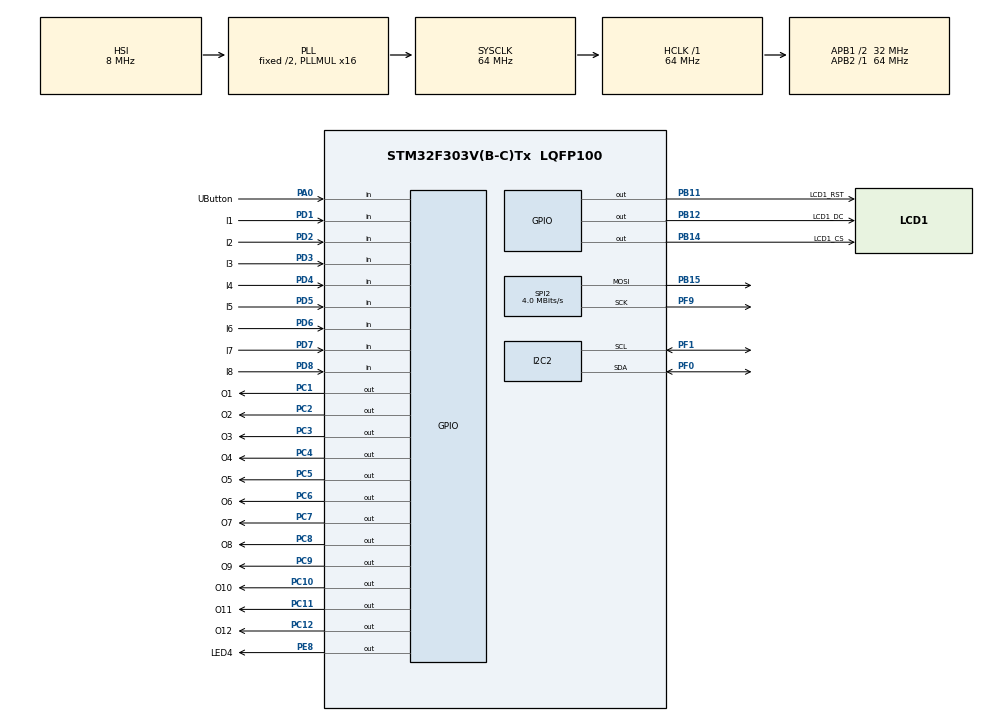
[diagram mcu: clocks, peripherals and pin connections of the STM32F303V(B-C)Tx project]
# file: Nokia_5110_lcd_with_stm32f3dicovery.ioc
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Mcu.Family=STM32F3
Mcu.Name=STM32F303V(B-C)Tx
Mcu.Package=LQFP100
NVIC.PriorityGroup=NVIC_PRIORITYGROUP_4
PA0.GPIO_Label=UButton
PA0.Signal=GPIO_Input
PB11.GPIO_Label=LCD1_RST
PB11.Signal=GPIO_Output
PB12.GPIO_Label=LCD1_DC
PB12.Signal=GPIO_Output
PB14.GPIO_Label=LCD1_CS
PB14.Signal=GPIO_Output
PB15.Mode=TX_Only_Simplex_Unidirect_Master
PB15.Signal=SPI2_MOSI
PC1.GPIO_Label=O1
PC1.Signal=GPIO_Output
PC10.GPIO_Label=O10
PC10.Signal=GPIO_Output
PC11.GPIO_Label=O11
PC11.Signal=GPIO_Output
PC12.GPIO_Label=O12
PC12.Signal=GPIO_Output
PC2.GPIO_Label=O2
PC2.Signal=GPIO_Output
PC3.GPIO_Label=O3
PC3.Signal=GPIO_Output
PC4.GPIO_Label=O4
PC4.Signal=GPIO_Output
PC5.GPIO_Label=O5
PC5.Signal=GPIO_Output
PC6.GPIO_Label=O6
PC6.Signal=GPIO_Output
PC7.GPIO_Label=O7
PC7.Signal=GPIO_Output
PC8.GPIO_Label=O8
PC8.Signal=GPIO_Output
PC9.GPIO_Label=O9
PC9.Signal=GPIO_Output
PD1.GPIO_Label=I1
PD1.Signal=GPIO_Input
PD2.GPIO_Label=I2
PD2.Signal=GPIO_Input
PD3.GPIO_Label=I3
PD3.Signal=GPIO_Input
PD4.GPIO_Label=I4
PD4.Signal=GPIO_Input
PD5.GPIO_Label=I5
PD5.Signal=GPIO_Input
PD6.GPIO_Label=I6
PD6.Signal=GPIO_Input
PD7.GPIO_Label=I7
PD7.Signal=GPIO_Input
PD8.GPIO_Label=I8
PD8.Signal=GPIO_Input
PE8.GPIO_Label=LED4
PE8.Signal=GPIO_Output
PF0-OSC_IN.Mode=I2C
PF0-OSC_IN.Signal=I2C2_SDA
PF1-OSC_OUT.Mode=I2C
PF1-OSC_OUT.Signal=I2C2_SCL
PF9.Mode=TX_Only_Simplex_Unidirect_Master
PF9.Signal=SPI2_SCK
ProjectManager.HeapSize=0x200
ProjectManager.StackSize=0x400
ProjectManager.TargetToolchain=SW4STM32
RCC.AHBFreq_Value=64000000
RCC.APB1CLKDivider=RCC_HCLK_DIV2
RCC.APB1Freq_Value=32000000
RCC.APB1TimFreq_Value=64000000
RCC.APB2Freq_Value=64000000
RCC.APB2TimFreq_Value=64000000
RCC.CortexFreq_Value=64000000
RCC.HCLKFreq_Value=64000000
RCC.HSE_VALUE=8000000
RCC.HSI_VALUE=8000000
RCC.LSE_VALUE=32768
RCC.PLLMUL=RCC_PLL_MUL16
RCC.SYSCLKFreq_VALUE=64000000
RCC.SYSCLKSourceVirtual=RCC_SYSCLKSOURCE_PLLCLK
RCC.USBFreq_Value=64000000
SPI2.BaudRatePrescaler=SPI_BAUDRATEPRESCALER_8
SPI2.CalculateBaudRate=4.0 MBits/s
SPI2.DataSize=SPI_DATASIZE_8BIT
SPI2.Direction=SPI_DIRECTION_2LINES
SPI2.Mode=SPI_MODE_MASTER
SPI2.VirtualType=VM_MASTER
board=Nokia_5110_lcd_with_stm32f3dicovery

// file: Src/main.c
/**
  ******************************************************************************
  * File Name          : main.c
  * Description        : Main program body
  ******************************************************************************
  ** This notice applies to any and all portions of this file
  * that are not between comment pairs USER CODE BEGIN and
  * USER CODE END. Other portions of this file, whether
  * inserted by the user or by software development tools
  * are owned by their respective copyright owners.
  *
  * COPYRIGHT(c) 2017 STMicroelectronics
  *
  * Redistribution and use in source and binary forms, with or without modification,
  * are permitted provided that the following conditions are met:
  *   1. Redistributions of source code must retain the above copyright notice,
  *      this list of conditions and the following disclaimer.
  *   2. Redistributions in binary form must reproduce the above copyright notice,
  *      this list of conditions and the following disclaimer in the documentation
  *      and/or other materials provided with the distribution.
  *   3. Neither the name of STMicroelectronics nor the names of its contributors
  *      may be used to endorse or promote products derived from this software
  *      without specific prior written permission.
  *
  * THIS SOFTWARE IS PROVIDED BY THE COPYRIGHT HOLDERS AND CONTRIBUTORS "AS IS"
  * AND ANY EXPRESS OR IMPLIED WARRANTIES, INCLUDING, BUT NOT LIMITED TO, THE
  * IMPLIED WARRANTIES OF MERCHANTABILITY AND FITNESS FOR A PARTICULAR PURPOSE ARE
  * DISCLAIMED. IN NO EVENT SHALL THE COPYRIGHT HOLDER OR CONTRIBUTORS BE LIABLE
  * FOR ANY DIRECT, INDIRECT, INCIDENTAL, SPECIAL, EXEMPLARY, OR CONSEQUENTIAL
  * DAMAGES (INCLUDING, BUT NOT LIMITED TO, PROCUREMENT OF SUBSTITUTE GOODS OR
  * SERVICES; LOSS OF USE, DATA, OR PROFITS; OR BUSINESS INTERRUPTION) HOWEVER
  * CAUSED AND ON ANY THEORY OF LIABILITY, WHETHER IN CONTRACT, STRICT LIABILITY,
  * OR TORT (INCLUDING NEGLIGENCE OR OTHERWISE) ARISING IN ANY WAY OUT OF THE USE
  * OF THIS SOFTWARE, EVEN IF ADVISED OF THE POSSIBILITY OF SUCH DAMAGE.
  *
  ******************************************************************************
  */
#include "main.h"
#include "stm32f3xx_hal.h"
#include "i2c.h"
#include "spi.h"
#include "gpio.h"

/* USER CODE BEGIN Includes */
#include "lcd5110.h"

/* USER CODE END Includes */

/* USER CODE BEGIN PV */
/* Private variables ---------------------------------------------------------*/

/* USER CODE END PV */

void SystemClock_Config(void);

/* USER CODE BEGIN PFP */
/* Private function prototypes -----------------------------------------------*/

/* USER CODE END PFP */

/* USER CODE BEGIN 0 */

/* TESTING BLOCK BEGIN 0
 *
 * Block of testing methods for logical elements.
 * Correspondence between STM32F3Discovery pins and labels.
 * PC1:PC12 = O1:O12 -> GPIO Outputs
 * PD1:PD6 = I1:I6 -> GPIO I1s
 */

/*
 * Tester method for SN74HC157N multiplexer.
 * Checks whether the multiplexer operates correctly.
 *
 * Relation between STM32F3Discovery | Labels | Multiplexer pins:
 * O1 = Strobe; O2 = Select; O3 = A; O4 = B; I1 = Output
 *
 * Return value:
 * true - test is passed;
 * false - test is not passed.
 */
bool test_SN74HC157N(){

	bool test_passed = false;
	int test_count = 0;

	/* 1)
	 * Strobe = H
	 * Select = x
	 * A = x
	 * B = x
	 * Result = L
	 */
	HAL_GPIO_WritePin(O1_GPIO_Port, O1_Pin, GPIO_PIN_SET); //Set Strobe = H
	if (HAL_GPIO_ReadPin(I1_GPIO_Port, I1_Pin) == 0) {     // Check if Result = L
		test_count += 1; // test passed
	}

	/* 2)
	 * Strobe = L
	 * Select = L
	 * A = L
	 * B = x
	 * Result = L
	 */
	HAL_GPIO_WritePin(O1_GPIO_Port, O1_Pin, GPIO_PIN_RESET); // Set Strobe = L
	HAL_GPIO_WritePin(O2_GPIO_Port, O2_Pin, GPIO_PIN_RESET); // Set Select = L
	HAL_GPIO_WritePin(O3_GPIO_Port, O3_Pin, GPIO_PIN_RESET); // Set A      = L
		if (HAL_GPIO_ReadPin(I1_GPIO_Port, I1_Pin) == 0) {   // Check if Result = L
			test_count += 1; // test passed
		}

	/* 3)
	 * Strobe = L
	 * Select = L
	 * A = H
	 * B = x
	 * Result = H
	 */
	HAL_GPIO_WritePin(O1_GPIO_Port, O1_Pin, GPIO_PIN_RESET); // Set Strobe = L
	HAL_GPIO_WritePin(O2_GPIO_Port, O2_Pin, GPIO_PIN_RESET); // Set Select = L
	HAL_GPIO_WritePin(O3_GPIO_Port, O3_Pin, GPIO_PIN_SET);   // Set A      = H
		if (HAL_GPIO_ReadPin(I1_GPIO_Port, I1_Pin) == 1) {   // Check if Result = H
			test_count += 1; // test passed
		}

	/* 4)
	 * Strobe = L
	 * Select = H
	 * A = x
	 * B = L
	 * Result = L
	 */
	HAL_GPIO_WritePin(O1_GPIO_Port, O1_Pin, GPIO_PIN_RESET); // Set Strobe = L
	HAL_GPIO_WritePin(O2_GPIO_Port, O2_Pin, GPIO_PIN_SET);   // Set Select = H
	HAL_GPIO_WritePin(O4_GPIO_Port, O4_Pin, GPIO_PIN_RESET); // Set B      = L
		if (HAL_GPIO_ReadPin(I1_GPIO_Port, I1_Pin) == 0) {   // Check if Result = L
			test_count += 1; // test passed
		}

	/* 5)
	 * Strobe = L
	 * Select = H
	 * A = x
	 * B = H
	 * Result = H
	 */
	HAL_GPIO_WritePin(O1_GPIO_Port, O1_Pin, GPIO_PIN_RESET); // Set Strobe = L
	HAL_GPIO_WritePin(O2_GPIO_Port, O2_Pin, GPIO_PIN_SET);   // Set Select = H
	HAL_GPIO_WritePin(O4_GPIO_Port, O4_Pin, GPIO_PIN_SET);	 // Set B      = H
		if (HAL_GPIO_ReadPin(I1_GPIO_Port, I1_Pin) == 1) {	 // Check if Result = H
			test_count += 1; // test passed
		}

	if (test_count == 5) { // check if all tests passed
		test_passed = true;
	}

	return test_passed;
}

/*
 * Tester method for 74LS138.
 * Datasheet hhttp://www.electroschematics.com/wp-content/uploads/2013/07/74LS138-datasheet.pdf,
 * https://www.allsyllabus.com/aj/note/EEE/8086%20Microprocessor%20&%20Peripherals/unit%205/Interfacing%20Devices.php#.WSmM72iGOUk
 * Checks whether the element operates correctly.
 *
 * Relation between STM32F3Discovery labels | Element pins:
 * O1 = E1, O2 = E2, O3 = E3; O4 = A0, O5 = A1, O6 = A2;
 * I1:I8 = O0:O7
 *
 * Return value:
 * true - test is passed;
 * false - test is not passed.
 */
bool test_74LS138(){

	bool test_passed = false;
	int test_count = 0;

	/* 1)
	 * O1 = E1 = H
	 * I1:I8 = O0:O7 = H
	 */

	HAL_GPIO_WritePin(O1_GPIO_Port, O1_Pin, GPIO_PIN_SET);
	if (HAL_GPIO_ReadPin(I1_GPIO_Port, I1_Pin) == 1 &&
			HAL_GPIO_ReadPin(I2_GPIO_Port, I2_Pin) == 1 &&
			HAL_GPIO_ReadPin(I3_GPIO_Port, I3_Pin) == 1 &&
			HAL_GPIO_ReadPin(I4_GPIO_Port, I4_Pin) == 1 &&
			HAL_GPIO_ReadPin(I5_GPIO_Port, I5_Pin) == 1 &&
			HAL_GPIO_ReadPin(I6_GPIO_Port, I6_Pin) == 1 &&
			HAL_GPIO_ReadPin(I7_GPIO_Port, I7_Pin) == 1 &&
			HAL_GPIO_ReadPin(I8_GPIO_Port, I8_Pin) == 1) {
		test_count += 1;
	}

	/* 2)
	 * O2 = E2 = H
	 * I1:I8 = O0:O7 = H
	 */

	HAL_GPIO_WritePin(O2_GPIO_Port, O2_Pin, GPIO_PIN_SET);
	if (HAL_GPIO_ReadPin(I1_GPIO_Port, I1_Pin) == 1 &&
			HAL_GPIO_ReadPin(I2_GPIO_Port, I2_Pin) == 1 &&
			HAL_GPIO_ReadPin(I3_GPIO_Port, I3_Pin) == 1 &&
			HAL_GPIO_ReadPin(I4_GPIO_Port, I4_Pin) == 1 &&
			HAL_GPIO_ReadPin(I5_GPIO_Port, I5_Pin) == 1 &&
			HAL_GPIO_ReadPin(I6_GPIO_Port, I6_Pin) == 1 &&
			HAL_GPIO_ReadPin(I7_GPIO_Port, I7_Pin) == 1 &&
			HAL_GPIO_ReadPin(I8_GPIO_Port, I8_Pin) == 1) {
		test_count += 1;
	}

	/* 3)
	 * O3 = E3 = L
	 * I1:I8 = O0:O7 = H
	 */

	HAL_GPIO_WritePin(O3_GPIO_Port, O3_Pin, GPIO_PIN_RESET);
	if (HAL_GPIO_ReadPin(I1_GPIO_Port, I1_Pin) == 1 &&
			HAL_GPIO_ReadPin(I2_GPIO_Port, I2_Pin) == 1 &&
			HAL_GPIO_ReadPin(I3_GPIO_Port, I3_Pin) == 1 &&
			HAL_GPIO_ReadPin(I4_GPIO_Port, I4_Pin) == 1 &&
			HAL_GPIO_ReadPin(I5_GPIO_Port, I5_Pin) == 1 &&
			HAL_GPIO_ReadPin(I6_GPIO_Port, I6_Pin) == 1 &&
			HAL_GPIO_ReadPin(I7_GPIO_Port, I7_Pin) == 1 &&
			HAL_GPIO_ReadPin(I8_GPIO_Port, I8_Pin) == 1) {
		test_count += 1;
	}

	/* 4)
	 * O1 = E1 = L
	 * O2 = E2 = L
	 * O3 = E3 = H
	 * O4 = A0 = L
	 * O5 = A1 = L
	 * O6 = A1 = L
	 *
	 * I1 = O0 = L
	 * I2 = O1 = H
	 * I3 = O2 = H
	 * I4 = O3 = H
	 * I5 = O4 = H
	 * I6 = O5 = H
	 * I7 = O6 = H
	 * I8 = O7 = H
	 */

	HAL_GPIO_WritePin(O1_GPIO_Port, O3_Pin, GPIO_PIN_RESET);
	HAL_GPIO_WritePin(O2_GPIO_Port, O2_Pin, GPIO_PIN_RESET);
	HAL_GPIO_WritePin(O3_GPIO_Port, O3_Pin, GPIO_PIN_SET);
	HAL_GPIO_WritePin(O4_GPIO_Port, O4_Pin, GPIO_PIN_RESET);
	HAL_GPIO_WritePin(O5_GPIO_Port, O5_Pin, GPIO_PIN_RESET);
	HAL_GPIO_WritePin(O6_GPIO_Port, O6_Pin, GPIO_PIN_RESET);
	if (HAL_GPIO_ReadPin(I1_GPIO_Port, I1_Pin) == 0 &&
			HAL_GPIO_ReadPin(I2_GPIO_Port, I2_Pin) == 1 &&
			HAL_GPIO_ReadPin(I3_GPIO_Port, I3_Pin) == 1 &&
			HAL_GPIO_ReadPin(I4_GPIO_Port, I4_Pin) == 1 &&
			HAL_GPIO_ReadPin(I5_GPIO_Port, I5_Pin) == 1 &&
			HAL_GPIO_ReadPin(I6_GPIO_Port, I6_Pin) == 1 &&
			HAL_GPIO_ReadPin(I7_GPIO_Port, I7_Pin) == 1 &&
			HAL_GPIO_ReadPin(I8_GPIO_Port, I8_Pin) == 1) {
		test_count += 1;
	}

	/* 5)
	 * O1 = E1 = L
	 * O2 = E2 = L
	 * O3 = E3 = H
	 * O4 = A0 = H
	 * O5 = A1 = L
	 * O6 = A1 = L
	 *
	 * I1 = O0 = H
	 * I2 = O1 = L
	 * I3 = O2 = H
	 * I4 = O3 = H
	 * I5 = O4 = H
	 * I6 = O5 = H
	 * I7 = O6 = H
	 * I8 = O7 = H
	 */

	HAL_GPIO_WritePin(O1_GPIO_Port, O3_Pin, GPIO_PIN_RESET);
	HAL_GPIO_WritePin(O2_GPIO_Port, O2_Pin, GPIO_PIN_RESET);
	HAL_GPIO_WritePin(O3_GPIO_Port, O3_Pin, GPIO_PIN_SET);
	HAL_GPIO_WritePin(O4_GPIO_Port, O4_Pin, GPIO_PIN_SET);
	HAL_GPIO_WritePin(O5_GPIO_Port, O5_Pin, GPIO_PIN_RESET);
	HAL_GPIO_WritePin(O6_GPIO_Port, O6_Pin, GPIO_PIN_RESET);
	if (HAL_GPIO_ReadPin(I1_GPIO_Port, I1_Pin) == 1 &&
			HAL_GPIO_ReadPin(I2_GPIO_Port, I2_Pin) == 0 &&
			HAL_GPIO_ReadPin(I3_GPIO_Port, I3_Pin) == 1 &&
			HAL_GPIO_ReadPin(I4_GPIO_Port, I4_Pin) == 1 &&
			HAL_GPIO_ReadPin(I5_GPIO_Port, I5_Pin) == 1 &&
			HAL_GPIO_ReadPin(I6_GPIO_Port, I6_Pin) == 1 &&
			HAL_GPIO_ReadPin(I7_GPIO_Port, I7_Pin) == 1 &&
			HAL_GPIO_ReadPin(I8_GPIO_Port, I8_Pin) == 1) {
		test_count += 1;
	}

	/* 6)
	 * O1 = E1 = L
	 * O2 = E2 = L
	 * O3 = E3 = H
	 * O4 = A0 = L
	 * O5 = A1 = H
	 * O6 = A1 = L
	 *
	 * I1 = O0 = H
	 * I2 = O1 = H
	 * I3 = O2 = L
	 * I4 = O3 = H
	 * I5 = O4 = H
	 * I6 = O5 = H
	 * I7 = O6 = H
	 * I8 = O7 = H
	 */

	HAL_GPIO_WritePin(O1_GPIO_Port, O3_Pin, GPIO_PIN_RESET);
	HAL_GPIO_WritePin(O2_GPIO_Port, O2_Pin, GPIO_PIN_RESET);
	HAL_GPIO_WritePin(O3_GPIO_Port, O3_Pin, GPIO_PIN_SET);
	HAL_GPIO_WritePin(O4_GPIO_Port, O4_Pin, GPIO_PIN_RESET);
	HAL_GPIO_WritePin(O5_GPIO_Port, O5_Pin, GPIO_PIN_SET);
	HAL_GPIO_WritePin(O6_GPIO_Port, O6_Pin, GPIO_PIN_RESET);
	if (HAL_GPIO_ReadPin(I1_GPIO_Port, I1_Pin) == 1 &&
			HAL_GPIO_ReadPin(I2_GPIO_Port, I2_Pin) == 1 &&
			HAL_GPIO_ReadPin(I3_GPIO_Port, I3_Pin) == 0 &&
			HAL_GPIO_ReadPin(I4_GPIO_Port, I4_Pin) == 1 &&
			HAL_GPIO_ReadPin(I5_GPIO_Port, I5_Pin) == 1 &&
			HAL_GPIO_ReadPin(I6_GPIO_Port, I6_Pin) == 1 &&
			HAL_GPIO_ReadPin(I7_GPIO_Port, I7_Pin) == 1 &&
			HAL_GPIO_ReadPin(I8_GPIO_Port, I8_Pin) == 1) {
		test_count += 1;
	}

	/* 7)
	 * O1 = E1 = L
	 * O2 = E2 = L
	 * O3 = E3 = H
	 * O4 = A0 = H
	 * O5 = A1 = H
	 * O6 = A1 = L
	 *
	 * I1 = O0 = H
	 * I2 = O1 = H
	 * I3 = O2 = H
	 * I4 = O3 = L
	 * I5 = O4 = H
	 * I6 = O5 = H
	 * I7 = O6 = H
	 * I8 = O7 = H
	 */

	HAL_GPIO_WritePin(O1_GPIO_Port, O3_Pin, GPIO_PIN_RESET);
	HAL_GPIO_WritePin(O2_GPIO_Port, O2_Pin, GPIO_PIN_RESET);
	HAL_GPIO_WritePin(O3_GPIO_Port, O3_Pin, GPIO_PIN_SET);
	HAL_GPIO_WritePin(O4_GPIO_Port, O4_Pin, GPIO_PIN_SET);
	HAL_GPIO_WritePin(O5_GPIO_Port, O5_Pin, GPIO_PIN_SET);
	HAL_GPIO_WritePin(O6_GPIO_Port, O6_Pin, GPIO_PIN_RESET);
	if (HAL_GPIO_ReadPin(I1_GPIO_Port, I1_Pin) == 1 &&
			HAL_GPIO_ReadPin(I2_GPIO_Port, I2_Pin) == 1 &&
			HAL_GPIO_ReadPin(I3_GPIO_Port, I3_Pin) == 1 &&
			HAL_GPIO_ReadPin(I4_GPIO_Port, I4_Pin) == 0 &&
			HAL_GPIO_ReadPin(I5_GPIO_Port, I5_Pin) == 1 &&
			HAL_GPIO_ReadPin(I6_GPIO_Port, I6_Pin) == 1 &&
			HAL_GPIO_ReadPin(I7_GPIO_Port, I7_Pin) == 1 &&
			HAL_GPIO_ReadPin(I8_GPIO_Port, I8_Pin) == 1) {
		test_count += 1;
	}

	/* 8)
	 * O1 = E1 = L
	 * O2 = E2 = L
	 * O3 = E3 = H
	 * O4 = A0 = L
	 * O5 = A1 = L
	 * O6 = A1 = H
	 *
	 * I1 = O0 = H
	 * I2 = O1 = H
	 * I3 = O2 = H
	 * I4 = O3 = H
	 * I5 = O4 = L
	 * I6 = O5 = H
	 * I7 = O6 = H
	 * I8 = O7 = H
	 */

	HAL_GPIO_WritePin(O1_GPIO_Port, O3_Pin, GPIO_PIN_RESET);
	HAL_GPIO_WritePin(O2_GPIO_Port, O2_Pin, GPIO_PIN_RESET);
	HAL_GPIO_WritePin(O3_GPIO_Port, O3_Pin, GPIO_PIN_SET);
	HAL_GPIO_WritePin(O4_GPIO_Port, O4_Pin, GPIO_PIN_RESET);
	HAL_GPIO_WritePin(O5_GPIO_Port, O5_Pin, GPIO_PIN_RESET);
	HAL_GPIO_WritePin(O6_GPIO_Port, O6_Pin, GPIO_PIN_SET);
	if (HAL_GPIO_ReadPin(I1_GPIO_Port, I1_Pin) == 1 &&
			HAL_GPIO_ReadPin(I2_GPIO_Port, I2_Pin) == 1 &&
			HAL_GPIO_ReadPin(I3_GPIO_Port, I3_Pin) == 1 &&
			HAL_GPIO_ReadPin(I4_GPIO_Port, I4_Pin) == 1 &&
			HAL_GPIO_ReadPin(I5_GPIO_Port, I5_Pin) == 0 &&
			HAL_GPIO_ReadPin(I6_GPIO_Port, I6_Pin) == 1 &&
			HAL_GPIO_ReadPin(I7_GPIO_Port, I7_Pin) == 1 &&
			HAL_GPIO_ReadPin(I8_GPIO_Port, I8_Pin) == 1) {
		test_count += 1;
	}

	/* 9)
	 * O1 = E1 = L
	 * O2 = E2 = L
	 * O3 = E3 = H
	 * O4 = A0 = H
	 * O5 = A1 = L
	 * O6 = A1 = H
	 *
	 * I1 = O0 = H
	 * I2 = O1 = H
	 * I3 = O2 = H
	 * I4 = O3 = H
	 * I5 = O4 = H
	 * I6 = O5 = L
	 * I7 = O6 = H
	 * I8 = O7 = H
	 */

	HAL_GPIO_WritePin(O1_GPIO_Port, O3_Pin, GPIO_PIN_RESET);
	HAL_GPIO_WritePin(O2_GPIO_Port, O2_Pin, GPIO_PIN_RESET);
	HAL_GPIO_WritePin(O3_GPIO_Port, O3_Pin, GPIO_PIN_SET);
	HAL_GPIO_WritePin(O4_GPIO_Port, O4_Pin, GPIO_PIN_SET);
	HAL_GPIO_WritePin(O5_GPIO_Port, O5_Pin, GPIO_PIN_RESET);
	HAL_GPIO_WritePin(O6_GPIO_Port, O6_Pin, GPIO_PIN_SET);
	if (HAL_GPIO_ReadPin(I1_GPIO_Port, I1_Pin) == 1 &&
			HAL_GPIO_ReadPin(I2_GPIO_Port, I2_Pin) == 1 &&
			HAL_GPIO_ReadPin(I3_GPIO_Port, I3_Pin) == 1 &&
			HAL_GPIO_ReadPin(I4_GPIO_Port, I4_Pin) == 1 &&
			HAL_GPIO_ReadPin(I5_GPIO_Port, I5_Pin) == 1 &&
			HAL_GPIO_ReadPin(I6_GPIO_Port, I6_Pin) == 0 &&
			HAL_GPIO_ReadPin(I7_GPIO_Port, I7_Pin) == 1 &&
			HAL_GPIO_ReadPin(I8_GPIO_Port, I8_Pin) == 1) {
		test_count += 1;
	}

	/* 10)
	 * O1 = E1 = L
	 * O2 = E2 = L
	 * O3 = E3 = H
	 * O4 = A0 = L
	 * O5 = A1 = H
	 * O6 = A1 = H
	 *
	 * I1 = O0 = H
	 * I2 = O1 = H
	 * I3 = O2 = H
	 * I4 = O3 = H
	 * I5 = O4 = H
	 * I6 = O5 = H
	 * I7 = O6 = L
	 * I8 = O7 = H
	 */

	HAL_GPIO_WritePin(O1_GPIO_Port, O3_Pin, GPIO_PIN_RESET);
	HAL_GPIO_WritePin(O2_GPIO_Port, O2_Pin, GPIO_PIN_RESET);
	HAL_GPIO_WritePin(O3_GPIO_Port, O3_Pin, GPIO_PIN_SET);
	HAL_GPIO_WritePin(O4_GPIO_Port, O4_Pin, GPIO_PIN_RESET);
	HAL_GPIO_WritePin(O5_GPIO_Port, O5_Pin, GPIO_PIN_SET);
	HAL_GPIO_WritePin(O6_GPIO_Port, O6_Pin, GPIO_PIN_SET);
	if (HAL_GPIO_ReadPin(I1_GPIO_Port, I1_Pin) == 1 &&
			HAL_GPIO_ReadPin(I2_GPIO_Port, I2_Pin) == 1 &&
			HAL_GPIO_ReadPin(I3_GPIO_Port, I3_Pin) == 1 &&
			HAL_GPIO_ReadPin(I4_GPIO_Port, I4_Pin) == 1 &&
			HAL_GPIO_ReadPin(I5_GPIO_Port, I5_Pin) == 1 &&
			HAL_GPIO_ReadPin(I6_GPIO_Port, I6_Pin) == 1 &&
			HAL_GPIO_ReadPin(I7_GPIO_Port, I7_Pin) == 0 &&
			HAL_GPIO_ReadPin(I8_GPIO_Port, I8_Pin) == 1) {
		test_count += 1;
	}

	/* 11)
	 * O1 = E1 = L
	 * O2 = E2 = L
	 * O3 = E3 = H
	 * O4 = A0 = H
	 * O5 = A1 = H
	 * O6 = A1 = H
	 *
	 * I1 = O0 = H
	 * I2 = O1 = H
	 * I3 = O2 = H
	 * I4 = O3 = H
	 * I5 = O4 = H
	 * I6 = O5 = H
	 * I7 = O6 = H
	 * I8 = O7 = L
	 */

	HAL_GPIO_WritePin(O1_GPIO_Port, O3_Pin, GPIO_PIN_RESET);
	HAL_GPIO_WritePin(O2_GPIO_Port, O2_Pin, GPIO_PIN_RESET);
	HAL_GPIO_WritePin(O3_GPIO_Port, O3_Pin, GPIO_PIN_SET);
	HAL_GPIO_WritePin(O4_GPIO_Port, O4_Pin, GPIO_PIN_SET);
	HAL_GPIO_WritePin(O5_GPIO_Port, O5_Pin, GPIO_PIN_SET);
	HAL_GPIO_WritePin(O6_GPIO_Port, O6_Pin, GPIO_PIN_SET);
	if (HAL_GPIO_ReadPin(I1_GPIO_Port, I1_Pin) == 1 &&
			HAL_GPIO_ReadPin(I2_GPIO_Port, I2_Pin) == 1 &&
			HAL_GPIO_ReadPin(I3_GPIO_Port, I3_Pin) == 1 &&
			HAL_GPIO_ReadPin(I4_GPIO_Port, I4_Pin) == 1 &&
			HAL_GPIO_ReadPin(I5_GPIO_Port, I5_Pin) == 1 &&
			HAL_GPIO_ReadPin(I6_GPIO_Port, I6_Pin) == 1 &&
			HAL_GPIO_ReadPin(I7_GPIO_Port, I7_Pin) == 1 &&
			HAL_GPIO_ReadPin(I8_GPIO_Port, I8_Pin) == 0) {
		test_count += 1;
	}

	if (test_count == 11) { // check if all tests passed
		test_passed = true;
	}

	return test_passed;

}

/*
 * Tester method for 74HC147.
 * Datasheet http://pdf1.alldatasheet.com/datasheet-pdf/view/114731/PHILIPS/74HC147.html
 * Tests according to the function table. See the datasheet.
 * Checks whether the element operates correctly.
 *
 * Relation between STM32F3Discovery labels | Element pins:
 * O1 = A0; O2 = A1; O3 = A2; O4 = A3; 05 = A4; O6 = A5; O7 = A6; O8 = A7; O9 = A8;
 * I1 = Y0; I2 = Y1; I3 = Y2; I4 = Y3
 *
 * Return value:
 * true - test is passed;
 * false - test is not passed.
 */
bool test_74HC147(){

	bool test_passed = false;
	int test_count = 0;

	/* 1) */

	HAL_GPIO_WritePin(O1_GPIO_Port, O1_Pin, GPIO_PIN_SET);
	HAL_GPIO_WritePin(O2_GPIO_Port, O2_Pin, GPIO_PIN_SET);
	HAL_GPIO_WritePin(O3_GPIO_Port, O3_Pin, GPIO_PIN_SET);
	HAL_GPIO_WritePin(O4_GPIO_Port, O4_Pin, GPIO_PIN_SET);
	HAL_GPIO_WritePin(O5_GPIO_Port, O5_Pin, GPIO_PIN_SET);
	HAL_GPIO_WritePin(O6_GPIO_Port, O6_Pin, GPIO_PIN_SET);
	HAL_GPIO_WritePin(O7_GPIO_Port, O7_Pin, GPIO_PIN_SET);
	HAL_GPIO_WritePin(O8_GPIO_Port, O8_Pin, GPIO_PIN_SET);
	HAL_GPIO_WritePin(O9_GPIO_Port, O9_Pin, GPIO_PIN_SET);
		if (HAL_GPIO_ReadPin(I1_GPIO_Port, I1_Pin) == 1 &&
				HAL_GPIO_ReadPin(I2_GPIO_Port, I2_Pin) == 1 &&
				HAL_GPIO_ReadPin(I3_GPIO_Port, I3_Pin) == 1 &&
				HAL_GPIO_ReadPin(I4_GPIO_Port, I4_Pin) == 1) {
			test_count += 1;
		}

	/* 2) */

	HAL_GPIO_WritePin(O9_GPIO_Port, O9_Pin, GPIO_PIN_RESET);
		if (HAL_GPIO_ReadPin(I1_GPIO_Port, I1_Pin) == 0 &&
				HAL_GPIO_ReadPin(I2_GPIO_Port, I2_Pin) == 1 &&
				HAL_GPIO_ReadPin(I3_GPIO_Port, I3_Pin) == 1 &&
				HAL_GPIO_ReadPin(I4_GPIO_Port, I4_Pin) == 0) {
			test_count += 1;
		}

	/* 3) */

	HAL_GPIO_WritePin(O8_GPIO_Port, O8_Pin, GPIO_PIN_RESET);
	HAL_GPIO_WritePin(O9_GPIO_Port, O9_Pin, GPIO_PIN_SET);
		if (HAL_GPIO_ReadPin(I1_GPIO_Port, I1_Pin) == 1 &&
				HAL_GPIO_ReadPin(I2_GPIO_Port, I2_Pin) == 1 &&
				HAL_GPIO_ReadPin(I3_GPIO_Port, I3_Pin) == 1 &&
				HAL_GPIO_ReadPin(I4_GPIO_Port, I4_Pin) == 0) {
			test_count += 1;
		}

	/* 4) */

	HAL_GPIO_WritePin(O7_GPIO_Port, O7_Pin, GPIO_PIN_RESET);
	HAL_GPIO_WritePin(O8_GPIO_Port, O8_Pin, GPIO_PIN_SET);
	HAL_GPIO_WritePin(O9_GPIO_Port, O9_Pin, GPIO_PIN_SET);
		if (HAL_GPIO_ReadPin(I1_GPIO_Port, I1_Pin) == 0 &&
				HAL_GPIO_ReadPin(I2_GPIO_Port, I2_Pin) == 0 &&
				HAL_GPIO_ReadPin(I3_GPIO_Port, I3_Pin) == 0 &&
				HAL_GPIO_ReadPin(I4_GPIO_Port, I4_Pin) == 1) {
			test_count += 1;
		}

	/* 5) */

	HAL_GPIO_WritePin(O6_GPIO_Port, O6_Pin, GPIO_PIN_RESET);
	HAL_GPIO_WritePin(O7_GPIO_Port, O7_Pin, GPIO_PIN_SET);
	HAL_GPIO_WritePin(O8_GPIO_Port, O8_Pin, GPIO_PIN_SET);
	HAL_GPIO_WritePin(O9_GPIO_Port, O9_Pin, GPIO_PIN_SET);
		if (HAL_GPIO_ReadPin(I1_GPIO_Port, I1_Pin) == 1 &&
				HAL_GPIO_ReadPin(I2_GPIO_Port, I2_Pin) == 0 &&
				HAL_GPIO_ReadPin(I3_GPIO_Port, I3_Pin) == 0 &&
				HAL_GPIO_ReadPin(I4_GPIO_Port, I4_Pin) == 1) {
			test_count += 1;
		}

	/* 6) */

	HAL_GPIO_WritePin(O5_GPIO_Port, O5_Pin, GPIO_PIN_RESET);
	HAL_GPIO_WritePin(O6_GPIO_Port, O6_Pin, GPIO_PIN_SET);
	HAL_GPIO_WritePin(O7_GPIO_Port, O7_Pin, GPIO_PIN_SET);
	HAL_GPIO_WritePin(O8_GPIO_Port, O8_Pin, GPIO_PIN_SET);
	HAL_GPIO_WritePin(O9_GPIO_Port, O9_Pin, GPIO_PIN_SET);
		if (HAL_GPIO_ReadPin(I1_GPIO_Port, I1_Pin) == 0 &&
				HAL_GPIO_ReadPin(I2_GPIO_Port, I2_Pin) == 1 &&
				HAL_GPIO_ReadPin(I2_GPIO_Port, I2_Pin) == 0 &&
				HAL_GPIO_ReadPin(I2_GPIO_Port, I2_Pin) == 1) {
			test_count += 1;
		}

	/* 7) */

	HAL_GPIO_WritePin(O4_GPIO_Port, O4_Pin, GPIO_PIN_RESET);
	HAL_GPIO_WritePin(O5_GPIO_Port, O5_Pin, GPIO_PIN_SET);
	HAL_GPIO_WritePin(O6_GPIO_Port, O6_Pin, GPIO_PIN_SET);
	HAL_GPIO_WritePin(O7_GPIO_Port, O7_Pin, GPIO_PIN_SET);
	HAL_GPIO_WritePin(O8_GPIO_Port, O8_Pin, GPIO_PIN_SET);
	HAL_GPIO_WritePin(O9_GPIO_Port, O9_Pin, GPIO_PIN_SET);
		if (HAL_GPIO_ReadPin(I1_GPIO_Port, I1_Pin) == 1 &&
				HAL_GPIO_ReadPin(I2_GPIO_Port, I2_Pin) == 1 &&
				HAL_GPIO_ReadPin(I2_GPIO_Port, I2_Pin) == 0 &&
				HAL_GPIO_ReadPin(I2_GPIO_Port, I2_Pin) == 1) {
			test_count += 1;
		}

	/* 8) */

	HAL_GPIO_WritePin(O3_GPIO_Port, O3_Pin, GPIO_PIN_RESET);
	HAL_GPIO_WritePin(O4_GPIO_Port, O4_Pin, GPIO_PIN_SET);
	HAL_GPIO_WritePin(O5_GPIO_Port, O5_Pin, GPIO_PIN_SET);
	HAL_GPIO_WritePin(O6_GPIO_Port, O6_Pin, GPIO_PIN_SET);
	HAL_GPIO_WritePin(O7_GPIO_Port, O7_Pin, GPIO_PIN_SET);
	HAL_GPIO_WritePin(O8_GPIO_Port, O8_Pin, GPIO_PIN_SET);
	HAL_GPIO_WritePin(O9_GPIO_Port, O9_Pin, GPIO_PIN_SET);
		if (HAL_GPIO_ReadPin(I1_GPIO_Port, I1_Pin) == 0 &&
				HAL_GPIO_ReadPin(I2_GPIO_Port, I2_Pin) == 0 &&
				HAL_GPIO_ReadPin(I2_GPIO_Port, I2_Pin) == 1 &&
				HAL_GPIO_ReadPin(I2_GPIO_Port, I2_Pin) == 1) {
			test_count += 1;
		}

	/* 9) */
	HAL_GPIO_WritePin(O2_GPIO_Port, O2_Pin, GPIO_PIN_RESET);
	HAL_GPIO_WritePin(O3_GPIO_Port, O3_Pin, GPIO_PIN_SET);
	HAL_GPIO_WritePin(O4_GPIO_Port, O4_Pin, GPIO_PIN_SET);
	HAL_GPIO_WritePin(O5_GPIO_Port, O5_Pin, GPIO_PIN_SET);
	HAL_GPIO_WritePin(O6_GPIO_Port, O6_Pin, GPIO_PIN_SET);
	HAL_GPIO_WritePin(O7_GPIO_Port, O7_Pin, GPIO_PIN_SET);
	HAL_GPIO_WritePin(O8_GPIO_Port, O8_Pin, GPIO_PIN_SET);
	HAL_GPIO_WritePin(O9_GPIO_Port, O9_Pin, GPIO_PIN_SET);
		if (HAL_GPIO_ReadPin(I1_GPIO_Port, I1_Pin) == 1 &&
				HAL_GPIO_ReadPin(I2_GPIO_Port, I2_Pin) == 0 &&
				HAL_GPIO_ReadPin(I2_GPIO_Port, I2_Pin) == 1 &&
				HAL_GPIO_ReadPin(I2_GPIO_Port, I2_Pin) == 1) {
			test_count += 1;
		}

	/* 10) */

	HAL_GPIO_WritePin(O1_GPIO_Port, O1_Pin, GPIO_PIN_RESET);
	HAL_GPIO_WritePin(O2_GPIO_Port, O2_Pin, GPIO_PIN_SET);
	HAL_GPIO_WritePin(O3_GPIO_Port, O3_Pin, GPIO_PIN_SET);
	HAL_GPIO_WritePin(O4_GPIO_Port, O4_Pin, GPIO_PIN_SET);
	HAL_GPIO_WritePin(O5_GPIO_Port, O5_Pin, GPIO_PIN_SET);
	HAL_GPIO_WritePin(O6_GPIO_Port, O6_Pin, GPIO_PIN_SET);
	HAL_GPIO_WritePin(O7_GPIO_Port, O7_Pin, GPIO_PIN_SET);
	HAL_GPIO_WritePin(O8_GPIO_Port, O8_Pin, GPIO_PIN_SET);
	HAL_GPIO_WritePin(O9_GPIO_Port, O9_Pin, GPIO_PIN_SET);
		if (HAL_GPIO_ReadPin(I1_GPIO_Port, I1_Pin) == 0 &&
				HAL_GPIO_ReadPin(I2_GPIO_Port, I2_Pin) == 1 &&
				HAL_GPIO_ReadPin(I2_GPIO_Port, I2_Pin) == 1 &&
				HAL_GPIO_ReadPin(I2_GPIO_Port, I2_Pin) == 1) {
			test_count += 1;
		}

	if (test_count == 10) { // check if all tests passed
		test_passed = true;
	}

	return test_passed;

}

/*
 * Tester method for SN74HC151.
 * Datasheet http://www.ti.com/lit/ds/symlink/sn74hc151.pdf
 * Tests according to the function table. See the datasheet.
 * Checks whether the element operates correctly.
 *
 * Relation between STM32F3Discovery labels | Multiplexer pins:
 * O1 = Strobe !G; O2 = A; O3 = B; O4 = C; O5:012 = D0:D7
 * I1 = Y; I2 = W
 *
 * Return value:
 * true - test is passed;
 * false - test is not passed.
 */
bool test_SN74HC151(){

	bool test_passed = false;
	int test_count = 0;

	/*
	* Pre configuration.
	* Set O5:O12 (D0:D7 on chip) to 0.
	*/
	HAL_GPIO_WritePin(O5_GPIO_Port, O5_Pin, GPIO_PIN_RESET);
	HAL_GPIO_WritePin(O6_GPIO_Port, O6_Pin, GPIO_PIN_RESET);
	HAL_GPIO_WritePin(O7_GPIO_Port, O7_Pin, GPIO_PIN_RESET);
	HAL_GPIO_WritePin(O8_GPIO_Port, O8_Pin, GPIO_PIN_RESET);
	HAL_GPIO_WritePin(O9_GPIO_Port, O9_Pin, GPIO_PIN_RESET);
	HAL_GPIO_WritePin(O10_GPIO_Port, O10_Pin, GPIO_PIN_RESET);
	HAL_GPIO_WritePin(O11_GPIO_Port, O11_Pin, GPIO_PIN_RESET);
	HAL_GPIO_WritePin(O12_GPIO_Port, O12_Pin, GPIO_PIN_RESET);

	/* 1) */

	HAL_GPIO_WritePin(O1_GPIO_Port, O1_Pin, GPIO_PIN_SET); //Strobe = H
		if (HAL_GPIO_ReadPin(I1_GPIO_Port, I1_Pin) == 0 &&
				HAL_GPIO_ReadPin(I2_GPIO_Port, I2_Pin) == 1) {
			test_count += 1;
		}

	/* 2) */

	HAL_GPIO_WritePin(O1_GPIO_Port, O1_Pin, GPIO_PIN_RESET); //Strobe = L
	HAL_GPIO_WritePin(O2_GPIO_Port, O2_Pin, GPIO_PIN_RESET); //A = L
	HAL_GPIO_WritePin(O3_GPIO_Port, O3_Pin, GPIO_PIN_RESET); //B = L
	HAL_GPIO_WritePin(O4_GPIO_Port, O4_Pin, GPIO_PIN_RESET); //C = L
		if (HAL_GPIO_ReadPin(I1_GPIO_Port, I1_Pin) == 0 &&
				HAL_GPIO_ReadPin(I2_GPIO_Port, I2_Pin) == 1) {
			test_count += 1;
		}

	/* 3) */

	HAL_GPIO_WritePin(O1_GPIO_Port, O1_Pin, GPIO_PIN_RESET);
	HAL_GPIO_WritePin(O2_GPIO_Port, O2_Pin, GPIO_PIN_SET);
	HAL_GPIO_WritePin(O3_GPIO_Port, O3_Pin, GPIO_PIN_RESET);
	HAL_GPIO_WritePin(O4_GPIO_Port, O4_Pin, GPIO_PIN_RESET);
		if (HAL_GPIO_ReadPin(I1_GPIO_Port, I1_Pin) == 0 &&
				HAL_GPIO_ReadPin(I2_GPIO_Port, I2_Pin) == 1) {
			test_count += 1;
		}

	/* 4) */

	HAL_GPIO_WritePin(O1_GPIO_Port, O1_Pin, GPIO_PIN_RESET);
	HAL_GPIO_WritePin(O2_GPIO_Port, O2_Pin, GPIO_PIN_RESET);
	HAL_GPIO_WritePin(O3_GPIO_Port, O3_Pin, GPIO_PIN_SET);
	HAL_GPIO_WritePin(O4_GPIO_Port, O4_Pin, GPIO_PIN_RESET);
		if (HAL_GPIO_ReadPin(I1_GPIO_Port, I1_Pin) == 0 &&
				HAL_GPIO_ReadPin(I2_GPIO_Port, I2_Pin) == 1) {
			test_count += 1;
		}

	/* 5) */

	HAL_GPIO_WritePin(O1_GPIO_Port, O1_Pin, GPIO_PIN_RESET);
	HAL_GPIO_WritePin(O2_GPIO_Port, O2_Pin, GPIO_PIN_SET);
	HAL_GPIO_WritePin(O3_GPIO_Port, O3_Pin, GPIO_PIN_SET);
	HAL_GPIO_WritePin(O4_GPIO_Port, O4_Pin, GPIO_PIN_RESET);
		if (HAL_GPIO_ReadPin(I1_GPIO_Port, I1_Pin) == 0 &&
				HAL_GPIO_ReadPin(I2_GPIO_Port, I2_Pin) == 1) {
			test_count += 1;
		}

	/* 6) */

	HAL_GPIO_WritePin(O1_GPIO_Port, O1_Pin, GPIO_PIN_RESET);
	HAL_GPIO_WritePin(O2_GPIO_Port, O2_Pin, GPIO_PIN_RESET);
	HAL_GPIO_WritePin(O3_GPIO_Port, O3_Pin, GPIO_PIN_RESET);
	HAL_GPIO_WritePin(O4_GPIO_Port, O4_Pin, GPIO_PIN_SET);
		if (HAL_GPIO_ReadPin(I1_GPIO_Port, I1_Pin) == 0 &&
				HAL_GPIO_ReadPin(I2_GPIO_Port, I2_Pin) == 1) {
			test_count += 1;
		}

	/* 7) */

	HAL_GPIO_WritePin(O1_GPIO_Port, O1_Pin, GPIO_PIN_RESET);
	HAL_GPIO_WritePin(O2_GPIO_Port, O2_Pin, GPIO_PIN_SET);
	HAL_GPIO_WritePin(O3_GPIO_Port, O3_Pin, GPIO_PIN_RESET);
	HAL_GPIO_WritePin(O4_GPIO_Port, O4_Pin, GPIO_PIN_SET);
		if (HAL_GPIO_ReadPin(I1_GPIO_Port, I1_Pin) == 0 &&
				HAL_GPIO_ReadPin(I2_GPIO_Port, I2_Pin) == 1) {
			test_count += 1;
		}

	/* 8) */

	HAL_GPIO_WritePin(O1_GPIO_Port, O1_Pin, GPIO_PIN_RESET);
	HAL_GPIO_WritePin(O2_GPIO_Port, O2_Pin, GPIO_PIN_RESET);
	HAL_GPIO_WritePin(O3_GPIO_Port, O3_Pin, GPIO_PIN_SET);
	HAL_GPIO_WritePin(O4_GPIO_Port, O4_Pin, GPIO_PIN_SET);
		if (HAL_GPIO_ReadPin(I1_GPIO_Port, I1_Pin) == 0 &&
				HAL_GPIO_ReadPin(I2_GPIO_Port, I2_Pin) == 1) {
			test_count += 1;
		}

	/* 9) */

	HAL_GPIO_WritePin(O1_GPIO_Port, O1_Pin, GPIO_PIN_RESET);
	HAL_GPIO_WritePin(O2_GPIO_Port, O2_Pin, GPIO_PIN_SET);
	HAL_GPIO_WritePin(O3_GPIO_Port, O3_Pin, GPIO_PIN_SET);
	HAL_GPIO_WritePin(O4_GPIO_Port, O4_Pin, GPIO_PIN_SET);
		if (HAL_GPIO_ReadPin(I1_GPIO_Port, I1_Pin) == 0 &&
				HAL_GPIO_ReadPin(I2_GPIO_Port, I2_Pin) == 1) {
			test_count += 1;
		}

	if (test_count == 9) { // check if all tests passed
		test_passed = true;
	}

	return test_passed;

}

/*
 * Tester method for DM74LS281.
 * Datasheet http://pdf.datasheetcatalog.com/datasheets/70/248191_DS.pdf,
 * Tests according to the function table. See the datasheet.
 * Checks whether the element operates correctly.
 *
 * Relation between STM32F3Discovery labels | Element pins:
 * O1 = A1; O2 = B1; O3 = A2; O4 = B2; O5 = C0.
 * I1 = sum1; I2 = sum2; I3 = C2.
 *
 * Return value:
 * true - test is passed;
 * false - test is not passed.
 */
bool test_DM74LS281(){

	bool test_passed = false;
	int test_count = 0;

	/* 1) */

	HAL_GPIO_WritePin(O1_GPIO_Port, O1_Pin, GPIO_PIN_RESET); //A1 = L
	HAL_GPIO_WritePin(O2_GPIO_Port, O2_Pin, GPIO_PIN_RESET); //B1 = L
	HAL_GPIO_WritePin(O3_GPIO_Port, O3_Pin, GPIO_PIN_RESET); //A2 = L
	HAL_GPIO_WritePin(O4_GPIO_Port, O4_Pin, GPIO_PIN_RESET); //B2 = L
	HAL_GPIO_WritePin(O5_GPIO_Port, O5_Pin, GPIO_PIN_RESET); // C0 = L
		if (HAL_GPIO_ReadPin(I1_GPIO_Port, I1_Pin) == 0 && //sum1 = 0
				HAL_GPIO_ReadPin(I2_GPIO_Port, I2_Pin) == 0 && //sum 2 = 0
				HAL_GPIO_ReadPin(I3_GPIO_Port, I3_Pin) == 0) { //C2 = 0
			test_count += 1;
		}

	/* 2) */

	HAL_GPIO_WritePin(O1_GPIO_Port, O1_Pin, GPIO_PIN_SET); //A1 = H
	HAL_GPIO_WritePin(O2_GPIO_Port, O2_Pin, GPIO_PIN_RESET); //B1 = L
	HAL_GPIO_WritePin(O3_GPIO_Port, O3_Pin, GPIO_PIN_RESET); //A2 = L
	HAL_GPIO_WritePin(O4_GPIO_Port, O4_Pin, GPIO_PIN_RESET); //B2 = L
	HAL_GPIO_WritePin(O5_GPIO_Port, O5_Pin, GPIO_PIN_RESET); //C0 = L
		if (HAL_GPIO_ReadPin(I1_GPIO_Port, I1_Pin) == 1 && //sum1 = H
				HAL_GPIO_ReadPin(I2_GPIO_Port, I2_Pin) == 0 && //sum2 = L
				HAL_GPIO_ReadPin(I3_GPIO_Port, I3_Pin) == 0) { //C2 = L
			test_count += 1;
			}

	/* 3) */

	HAL_GPIO_WritePin(O1_GPIO_Port, O1_Pin, GPIO_PIN_RESET);
	HAL_GPIO_WritePin(O2_GPIO_Port, O2_Pin, GPIO_PIN_SET);
	HAL_GPIO_WritePin(O3_GPIO_Port, O3_Pin, GPIO_PIN_RESET);
	HAL_GPIO_WritePin(O4_GPIO_Port, O4_Pin, GPIO_PIN_RESET);
	HAL_GPIO_WritePin(O5_GPIO_Port, O5_Pin, GPIO_PIN_RESET);
		if (HAL_GPIO_ReadPin(I1_GPIO_Port, I1_Pin) == 1 &&
				HAL_GPIO_ReadPin(I2_GPIO_Port, I2_Pin) == 0 &&
				HAL_GPIO_ReadPin(I3_GPIO_Port, I3_Pin) == 0) {
			test_count += 1;
			}

	/* 4) */

	HAL_GPIO_WritePin(O1_GPIO_Port, O1_Pin, GPIO_PIN_SET);
	HAL_GPIO_WritePin(O2_GPIO_Port, O2_Pin, GPIO_PIN_SET);
	HAL_GPIO_WritePin(O3_GPIO_Port, O3_Pin, GPIO_PIN_RESET);
	HAL_GPIO_WritePin(O4_GPIO_Port, O4_Pin, GPIO_PIN_RESET);
	HAL_GPIO_WritePin(O5_GPIO_Port, O5_Pin, GPIO_PIN_RESET);
		if (HAL_GPIO_ReadPin(I1_GPIO_Port, I1_Pin) == 0 &&
				HAL_GPIO_ReadPin(I2_GPIO_Port, I2_Pin) == 1 &&
				HAL_GPIO_ReadPin(I3_GPIO_Port, I3_Pin) == 0) {
			test_count += 1;
			}

	/* 5) */

	HAL_GPIO_WritePin(O1_GPIO_Port, O1_Pin, GPIO_PIN_RESET);
	HAL_GPIO_WritePin(O2_GPIO_Port, O2_Pin, GPIO_PIN_RESET);
	HAL_GPIO_WritePin(O3_GPIO_Port, O3_Pin, GPIO_PIN_SET);
	HAL_GPIO_WritePin(O4_GPIO_Port, O4_Pin, GPIO_PIN_RESET);
	HAL_GPIO_WritePin(O5_GPIO_Port, O5_Pin, GPIO_PIN_RESET);
		if (HAL_GPIO_ReadPin(I1_GPIO_Port, I1_Pin) == 0 &&
				HAL_GPIO_ReadPin(I2_GPIO_Port, I2_Pin) == 1 &&
				HAL_GPIO_ReadPin(I3_GPIO_Port, I3_Pin) == 0) {
			test_count += 1;
			}

	/* 6) */

	HAL_GPIO_WritePin(O1_GPIO_Port, O1_Pin, GPIO_PIN_SET);
	HAL_GPIO_WritePin(O2_GPIO_Port, O2_Pin, GPIO_PIN_RESET);
	HAL_GPIO_WritePin(O3_GPIO_Port, O3_Pin, GPIO_PIN_SET);
	HAL_GPIO_WritePin(O4_GPIO_Port, O4_Pin, GPIO_PIN_RESET);
	HAL_GPIO_WritePin(O5_GPIO_Port, O5_Pin, GPIO_PIN_RESET);
		if (HAL_GPIO_ReadPin(I1_GPIO_Port, I1_Pin) == 1 &&
				HAL_GPIO_ReadPin(I2_GPIO_Port, I2_Pin) == 1 &&
				HAL_GPIO_ReadPin(I3_GPIO_Port, I3_Pin) == 0) {
			test_count += 1;
			}

	/* 7) */
	HAL_GPIO_WritePin(O1_GPIO_Port, O1_Pin, GPIO_PIN_RESET);
	HAL_GPIO_WritePin(O2_GPIO_Port, O2_Pin, GPIO_PIN_SET);
	HAL_GPIO_WritePin(O3_GPIO_Port, O3_Pin, GPIO_PIN_SET);
	HAL_GPIO_WritePin(O4_GPIO_Port, O4_Pin, GPIO_PIN_RESET);
	HAL_GPIO_WritePin(O5_GPIO_Port, O5_Pin, GPIO_PIN_RESET);
		if (HAL_GPIO_ReadPin(I1_GPIO_Port, I1_Pin) == 1 &&
				HAL_GPIO_ReadPin(I2_GPIO_Port, I2_Pin) == 1 &&
				HAL_GPIO_ReadPin(I3_GPIO_Port, I3_Pin) == 0) {
			test_count += 1;
			}

	/* 8) */

	HAL_GPIO_WritePin(O1_GPIO_Port, O1_Pin, GPIO_PIN_SET);
	HAL_GPIO_WritePin(O2_GPIO_Port, O2_Pin, GPIO_PIN_SET);
	HAL_GPIO_WritePin(O3_GPIO_Port, O3_Pin, GPIO_PIN_SET);
	HAL_GPIO_WritePin(O4_GPIO_Port, O4_Pin, GPIO_PIN_RESET);
	HAL_GPIO_WritePin(O5_GPIO_Port, O5_Pin, GPIO_PIN_RESET);
		if (HAL_GPIO_ReadPin(I1_GPIO_Port, I1_Pin) == 0 &&
				HAL_GPIO_ReadPin(I2_GPIO_Port, I2_Pin) == 0 &&
				HAL_GPIO_ReadPin(I3_GPIO_Port, I3_Pin) == 1) {
			test_count += 1;
			}

	/* 9) */

	HAL_GPIO_WritePin(O1_GPIO_Port, O1_Pin, GPIO_PIN_RESET);
	HAL_GPIO_WritePin(O2_GPIO_Port, O2_Pin, GPIO_PIN_RESET);
	HAL_GPIO_WritePin(O3_GPIO_Port, O3_Pin, GPIO_PIN_RESET);
	HAL_GPIO_WritePin(O4_GPIO_Port, O4_Pin, GPIO_PIN_SET);
	HAL_GPIO_WritePin(O5_GPIO_Port, O5_Pin, GPIO_PIN_RESET);
		if (HAL_GPIO_ReadPin(I1_GPIO_Port, I1_Pin) == 0 &&
				HAL_GPIO_ReadPin(I2_GPIO_Port, I2_Pin) == 1 &&
				HAL_GPIO_ReadPin(I3_GPIO_Port, I3_Pin) == 0) {
			test_count += 1;
			}

	/* 10) */

	HAL_GPIO_WritePin(O1_GPIO_Port, O1_Pin, GPIO_PIN_SET);
	HAL_GPIO_WritePin(O2_GPIO_Port, O2_Pin, GPIO_PIN_RESET);
	HAL_GPIO_WritePin(O3_GPIO_Port, O3_Pin, GPIO_PIN_RESET);
	HAL_GPIO_WritePin(O4_GPIO_Port, O4_Pin, GPIO_PIN_SET);
	HAL_GPIO_WritePin(O5_GPIO_Port, O5_Pin, GPIO_PIN_RESET);
		if (HAL_GPIO_ReadPin(I1_GPIO_Port, I1_Pin) == 1 &&
				HAL_GPIO_ReadPin(I2_GPIO_Port, I2_Pin) == 1 &&
				HAL_GPIO_ReadPin(I3_GPIO_Port, I3_Pin) == 0) {
			test_count += 1;
			}

	/* 11) */

	HAL_GPIO_WritePin(O1_GPIO_Port, O1_Pin, GPIO_PIN_RESET);
	HAL_GPIO_WritePin(O2_GPIO_Port, O2_Pin, GPIO_PIN_SET);
	HAL_GPIO_WritePin(O3_GPIO_Port, O3_Pin, GPIO_PIN_RESET);
	HAL_GPIO_WritePin(O4_GPIO_Port, O4_Pin, GPIO_PIN_SET);
	HAL_GPIO_WritePin(O5_GPIO_Port, O5_Pin, GPIO_PIN_RESET);
		if (HAL_GPIO_ReadPin(I1_GPIO_Port, I1_Pin) == 1 &&
				HAL_GPIO_ReadPin(I2_GPIO_Port, I2_Pin) == 1 &&
				HAL_GPIO_ReadPin(I3_GPIO_Port, I3_Pin) == 0) {
			test_count += 1;
			}

	/* 12) */
	HAL_GPIO_WritePin(O1_GPIO_Port, O1_Pin, GPIO_PIN_SET);
	HAL_GPIO_WritePin(O2_GPIO_Port, O2_Pin, GPIO_PIN_SET);
	HAL_GPIO_WritePin(O3_GPIO_Port, O3_Pin, GPIO_PIN_RESET);
	HAL_GPIO_WritePin(O4_GPIO_Port, O4_Pin, GPIO_PIN_SET);
	HAL_GPIO_WritePin(O5_GPIO_Port, O5_Pin, GPIO_PIN_RESET);
		if (HAL_GPIO_ReadPin(I1_GPIO_Port, I1_Pin) == 0 &&
				HAL_GPIO_ReadPin(I2_GPIO_Port, I2_Pin) == 0 &&
				HAL_GPIO_ReadPin(I3_GPIO_Port, I3_Pin) == 1) {
			test_count += 1;
			}

	/* 13) */

	HAL_GPIO_WritePin(O1_GPIO_Port, O1_Pin, GPIO_PIN_RESET);
	HAL_GPIO_WritePin(O2_GPIO_Port, O2_Pin, GPIO_PIN_RESET);
	HAL_GPIO_WritePin(O3_GPIO_Port, O3_Pin, GPIO_PIN_SET);
	HAL_GPIO_WritePin(O4_GPIO_Port, O4_Pin, GPIO_PIN_SET);
	HAL_GPIO_WritePin(O5_GPIO_Port, O5_Pin, GPIO_PIN_RESET);
		if (HAL_GPIO_ReadPin(I1_GPIO_Port, I1_Pin) == 0 &&
				HAL_GPIO_ReadPin(I2_GPIO_Port, I2_Pin) == 0 &&
				HAL_GPIO_ReadPin(I3_GPIO_Port, I3_Pin) == 1) {
			test_count += 1;
			}

	/* 14) */

	HAL_GPIO_WritePin(O1_GPIO_Port, O1_Pin, GPIO_PIN_SET);
	HAL_GPIO_WritePin(O2_GPIO_Port, O2_Pin, GPIO_PIN_RESET);
	HAL_GPIO_WritePin(O3_GPIO_Port, O3_Pin, GPIO_PIN_SET);
	HAL_GPIO_WritePin(O4_GPIO_Port, O4_Pin, GPIO_PIN_SET);
	HAL_GPIO_WritePin(O5_GPIO_Port, O5_Pin, GPIO_PIN_RESET);
		if (HAL_GPIO_ReadPin(I1_GPIO_Port, I1_Pin) == 1 &&
				HAL_GPIO_ReadPin(I2_GPIO_Port, I2_Pin) == 0 &&
				HAL_GPIO_ReadPin(I3_GPIO_Port, I3_Pin) == 1) {
			test_count += 1;
			}

	/* 15) */

	HAL_GPIO_WritePin(O1_GPIO_Port, O1_Pin, GPIO_PIN_RESET);
	HAL_GPIO_WritePin(O2_GPIO_Port, O2_Pin, GPIO_PIN_SET);
	HAL_GPIO_WritePin(O3_GPIO_Port, O3_Pin, GPIO_PIN_SET);
	HAL_GPIO_WritePin(O4_GPIO_Port, O4_Pin, GPIO_PIN_SET);
	HAL_GPIO_WritePin(O5_GPIO_Port, O5_Pin, GPIO_PIN_RESET);
		if (HAL_GPIO_ReadPin(I1_GPIO_Port, I1_Pin) == 1 &&
				HAL_GPIO_ReadPin(I2_GPIO_Port, I2_Pin) == 0 &&
				HAL_GPIO_ReadPin(I3_GPIO_Port, I3_Pin) == 1) {
			test_count += 1;
			}

	/* 16) */

	HAL_GPIO_WritePin(O1_GPIO_Port, O1_Pin, GPIO_PIN_SET);
	HAL_GPIO_WritePin(O2_GPIO_Port, O2_Pin, GPIO_PIN_SET);
	HAL_GPIO_WritePin(O3_GPIO_Port, O3_Pin, GPIO_PIN_SET);
	HAL_GPIO_WritePin(O4_GPIO_Port, O4_Pin, GPIO_PIN_SET);
	HAL_GPIO_WritePin(O5_GPIO_Port, O5_Pin, GPIO_PIN_RESET);
		if (HAL_GPIO_ReadPin(I1_GPIO_Port, I1_Pin) == 0 &&
				HAL_GPIO_ReadPin(I2_GPIO_Port, I2_Pin) == 1 &&
				HAL_GPIO_ReadPin(I3_GPIO_Port, I3_Pin) == 1) {
			test_count += 1;
			}

	if (test_count == 16) { // check if all tests passed
		test_passed = true;
	}

	return test_passed;

}

bool draft_test() {
	bool test_passed = false;
	int test_count = 5;

	if (test_count == 5) {
		test_passed = true;
	}
	return test_passed;
}

/* TESTING BLOCK END 0 */

void wait_for_button1_pressed()
{
	while( HAL_GPIO_ReadPin(UButton_GPIO_Port, UButton_Pin) == GPIO_PIN_RESET ){}
	HAL_Delay(50);
	while( HAL_GPIO_ReadPin(UButton_GPIO_Port, UButton_Pin) == GPIO_PIN_SET ){}
	HAL_Delay(50);
}

bool pressed_and_held() {
	bool press_and_hold = false;
    while(!press_and_hold) {
	  if(HAL_GPIO_ReadPin(UButton_GPIO_Port, UButton_Pin) == GPIO_PIN_SET) {
		 HAL_Delay(3000);
		  if(HAL_GPIO_ReadPin(UButton_GPIO_Port, UButton_Pin) == GPIO_PIN_SET) {
			  press_and_hold = true;
			  }
		  }
	  }
    return press_and_hold;
}

bool button_pressed() {
	bool pressed = false;
	while(!pressed) {
		if(HAL_GPIO_ReadPin(UButton_GPIO_Port, UButton_Pin) == GPIO_PIN_SET) {
			pressed = true;
		}
	}
	return pressed;
}

LCD5110_display lcd1;

/* USER CODE END 0 */

int main(void)
{

  /* MCU Configuration----------------------------------------------------------*/

  /* Reset of all peripherals, Initializes the Flash interface and the Systick. */
  HAL_Init();

  /* Configure the system clock */
  SystemClock_Config();

  /* Initialize all configured peripherals */
  MX_GPIO_Init();
  MX_SPI2_Init();
  MX_I2C2_Init();

  /* USER CODE BEGIN 2 */
  lcd1.hw_conf.spi_handle = &hspi2;
  lcd1.hw_conf.spi_cs_pin =  LCD1_CS_Pin;
  lcd1.hw_conf.spi_cs_port = LCD1_CS_GPIO_Port;
  lcd1.hw_conf.rst_pin =  LCD1_RST_Pin;
  lcd1.hw_conf.rst_port = LCD1_RST_GPIO_Port;
  lcd1.hw_conf.dc_pin =  LCD1_DC_Pin;
  lcd1.hw_conf.dc_port = LCD1_DC_GPIO_Port;
  lcd1.def_scr = lcd5110_def_scr;
  LCD5110_init(&lcd1.hw_conf, LCD5110_NORMAL_MODE, 0x40, 2, 3);

  /* INTERFACE CODE BEGIN 1 */

  LCD5110_clear_scr(&lcd1);

  LCD5110_set_cursor(20, 20, &lcd1);
  LCD5110_print("Welcome!\n", BLACK, &lcd1);
  HAL_Delay(3000);
  LCD5110_clear_scr(&lcd1);

  LCD5110_set_cursor(19, 5, &lcd1);
  LCD5110_print("Hold the\n", BLACK, &lcd1);
  LCD5110_set_cursor(0, 15, &lcd1);
  LCD5110_print("button pressed\n", BLACK, &lcd1);
  LCD5110_set_cursor(21, 25, &lcd1);
  LCD5110_print("for 3s\n", BLACK, &lcd1);
  LCD5110_set_cursor(18, 35, &lcd1);
  LCD5110_print("to choose\n", BLACK, &lcd1);
  HAL_Delay(3500);
  LCD5110_clear_scr(&lcd1);

  int count = 0;
  /*
   * Display logical elements on the display
   * and let the user choose which one to test.
   */
  while(1) {
	  LCD5110_set_cursor(13, 20, &lcd1);
	  LCD5110_print("SN74HC157N\n", BLACK, &lcd1);
	  HAL_Delay(2500);
	  LCD5110_clear_scr(&lcd1);
	  count += 1;

	  if(HAL_GPIO_ReadPin(UButton_GPIO_Port, UButton_Pin) == GPIO_PIN_SET) {
		  LCD5110_set_cursor(20, 15, &lcd1);
		  LCD5110_print("Chosen:\n", BLACK, &lcd1);
		  LCD5110_set_cursor(13, 25, &lcd1);
		  LCD5110_print("SN74HC157N\n", BLACK, &lcd1);
		  HAL_Delay(2500);
		  break;
	  }

	  LCD5110_set_cursor(20, 20, &lcd1);
	  LCD5110_print("74LS138\n", BLACK, &lcd1);
	  HAL_Delay(2500);
	  LCD5110_clear_scr(&lcd1);
	  count += 1;

	  if(HAL_GPIO_ReadPin(UButton_GPIO_Port, UButton_Pin) == GPIO_PIN_SET) {
		  LCD5110_set_cursor(20, 15, &lcd1);
		  LCD5110_print("Chosen:\n", BLACK, &lcd1);
		  LCD5110_set_cursor(20, 25, &lcd1);
		  LCD5110_print("74LS138\n", BLACK, &lcd1);
		  HAL_Delay(2500);
		  break;
	  }

	  LCD5110_set_cursor(20, 20, &lcd1);
	  LCD5110_print("74HC147\n", BLACK, &lcd1);
	  HAL_Delay(2500);
	  LCD5110_clear_scr(&lcd1);
	  count += 1;

	  if(HAL_GPIO_ReadPin(UButton_GPIO_Port, UButton_Pin) == GPIO_PIN_SET) {
		  LCD5110_set_cursor(20, 15, &lcd1);
		  LCD5110_print("Chosen:\n", BLACK, &lcd1);
		  LCD5110_set_cursor(20, 25, &lcd1);
		  LCD5110_print("74HC147\n", BLACK, &lcd1);
		  HAL_Delay(2500);
		  break;
	  }

	  LCD5110_set_cursor(16, 20, &lcd1);
	  LCD5110_print("SN74HC151\n", BLACK, &lcd1);
	  HAL_Delay(2500);
	  LCD5110_clear_scr(&lcd1);
	  count += 1;

	  if(HAL_GPIO_ReadPin(UButton_GPIO_Port, UButton_Pin) == GPIO_PIN_SET) {
		  LCD5110_set_cursor(20, 15, &lcd1);
		  LCD5110_print("Chosen:\n", BLACK, &lcd1);
		  LCD5110_set_cursor(16, 25, &lcd1);
		  LCD5110_print("SN74HC151\n", BLACK, &lcd1);
		  HAL_Delay(2500);
		  break;
	  }

	  LCD5110_set_cursor(17, 20, &lcd1);
	  LCD5110_print("DM74LS281\n", BLACK, &lcd1);
	  HAL_Delay(2500);
	  LCD5110_clear_scr(&lcd1);
	  count += 1;

	  if(HAL_GPIO_ReadPin(UButton_GPIO_Port, UButton_Pin) == GPIO_PIN_SET) {
		  LCD5110_set_cursor(20, 15, &lcd1);
		  LCD5110_print("Chosen:\n", BLACK, &lcd1);
		  LCD5110_set_cursor(17, 25, &lcd1);
		  LCD5110_print("DM74LS281\n", BLACK, &lcd1);
		  HAL_Delay(2500);
		  break;
	  }

	  LCD5110_set_cursor(22, 20, &lcd1);
	  LCD5110_print("sample\n", BLACK, &lcd1);
	  HAL_Delay(2500);
	  LCD5110_clear_scr(&lcd1);
	  count += 1;

	  if(HAL_GPIO_ReadPin(UButton_GPIO_Port, UButton_Pin) == GPIO_PIN_SET) {
		  LCD5110_set_cursor(20, 15, &lcd1);
		  LCD5110_print("Chosen:\n", BLACK, &lcd1);
		  LCD5110_set_cursor(22, 25, &lcd1);
		  LCD5110_print("sample\n", BLACK, &lcd1);
		  HAL_Delay(2500);
		  break;
	  }
	  count = 0;
  }

  /* INTERFACE CODE END 1 */

  LCD5110_clear_scr(&lcd1);
  LCD5110_set_cursor(0, 0, &lcd1);
  LCD5110_print("Testing...\n", BLACK, &lcd1);
  HAL_Delay(1000);

  // Check which logical element was chosen and perform a test.
  if(count == 1) {
	  if(test_SN74HC157N()) {
		  LCD5110_print("Passed\n", BLACK, &lcd1);
	  }
	  else {
		  LCD5110_print("NOT passed\n", BLACK, &lcd1);
	  }
  }
  if(count == 2) {
	  if(test_74LS138()) {
		  LCD5110_print("Passed\n", BLACK, &lcd1);
	  }
	  else {
		  LCD5110_print("NOT passed\n", BLACK, &lcd1);
	  }
  }
  if(count == 3) {
	  if(test_74HC147()) {
		  LCD5110_print("Passed\n", BLACK, &lcd1);
	  }
	  else {
		  LCD5110_print("NOT passed\n", BLACK, &lcd1);
	  }

  }
  if(count == 4) {
	  if(test_74LS138()) {
		  LCD5110_print("Passed\n", BLACK, &lcd1);
	  }
	  else {
		  LCD5110_print("NOT passed\n", BLACK, &lcd1);
	  }

  }
  if(count == 5) {
	  if(test_DM74LS281()) {
		  LCD5110_print("Passed\n", BLACK, &lcd1);
	  }
	  else {
		  LCD5110_print("NOT passed\n", BLACK, &lcd1);
	  }
  }
  if(count == 6) {
	  if(draft_test()) {
		  LCD5110_print("Passed\n", BLACK, &lcd1);
	  }
	  else {
		  LCD5110_print("NOT passed\n", BLACK, &lcd1);
	  }
  }
  LCD5110_print("Author:\n Karabyn\n", BLACK, &lcd1);

  /* USER CODE END 2 */

  /* Infinite loop */
  while (1)
  {

  }

}

/** System Clock Configuration
*/
void SystemClock_Config(void)
{

  RCC_OscInitTypeDef RCC_OscInitStruct;
  RCC_ClkInitTypeDef RCC_ClkInitStruct;
  RCC_PeriphCLKInitTypeDef PeriphClkInit;

    /**Initializes the CPU, AHB and APB busses clocks
    */
  RCC_OscInitStruct.OscillatorType = RCC_OSCILLATORTYPE_HSI;
  RCC_OscInitStruct.HSIState = RCC_HSI_ON;
  RCC_OscInitStruct.HSICalibrationValue = 16;
  RCC_OscInitStruct.PLL.PLLState = RCC_PLL_ON;
  RCC_OscInitStruct.PLL.PLLSource = RCC_PLLSOURCE_HSI;
  RCC_OscInitStruct.PLL.PLLMUL = RCC_PLL_MUL16;
  if (HAL_RCC_OscConfig(&RCC_OscInitStruct) != HAL_OK)
  {
    _Error_Handler(__FILE__, __LINE__);
  }

    /**Initializes the CPU, AHB and APB busses clocks
    */
  RCC_ClkInitStruct.ClockType = RCC_CLOCKTYPE_HCLK|RCC_CLOCKTYPE_SYSCLK
                              |RCC_CLOCKTYPE_PCLK1|RCC_CLOCKTYPE_PCLK2;
  RCC_ClkInitStruct.SYSCLKSource = RCC_SYSCLKSOURCE_PLLCLK;
  RCC_ClkInitStruct.AHBCLKDivider = RCC_SYSCLK_DIV1;
  RCC_ClkInitStruct.APB1CLKDivider = RCC_HCLK_DIV2;
  RCC_ClkInitStruct.APB2CLKDivider = RCC_HCLK_DIV1;

  if (HAL_RCC_ClockConfig(&RCC_ClkInitStruct, FLASH_LATENCY_2) != HAL_OK)
  {
    _Error_Handler(__FILE__, __LINE__);
  }

  PeriphClkInit.PeriphClockSelection = RCC_PERIPHCLK_I2C2;
  PeriphClkInit.I2c2ClockSelection = RCC_I2C2CLKSOURCE_HSI;
  if (HAL_RCCEx_PeriphCLKConfig(&PeriphClkInit) != HAL_OK)
  {
    _Error_Handler(__FILE__, __LINE__);
  }

    /**Configure the Systick interrupt time
    */
  HAL_SYSTICK_Config(HAL_RCC_GetHCLKFreq()/1000);

    /**Configure the Systick
    */
  HAL_SYSTICK_CLKSourceConfig(SYSTICK_CLKSOURCE_HCLK);

  /* SysTick_IRQn interrupt configuration */
  HAL_NVIC_SetPriority(SysTick_IRQn, 0, 0);
}

void _Error_Handler(char * file, int line)
{
  while(1)
  {
  }
}

/************************ (C) COPYRIGHT STMicroelectronics *****END OF FILE****/
